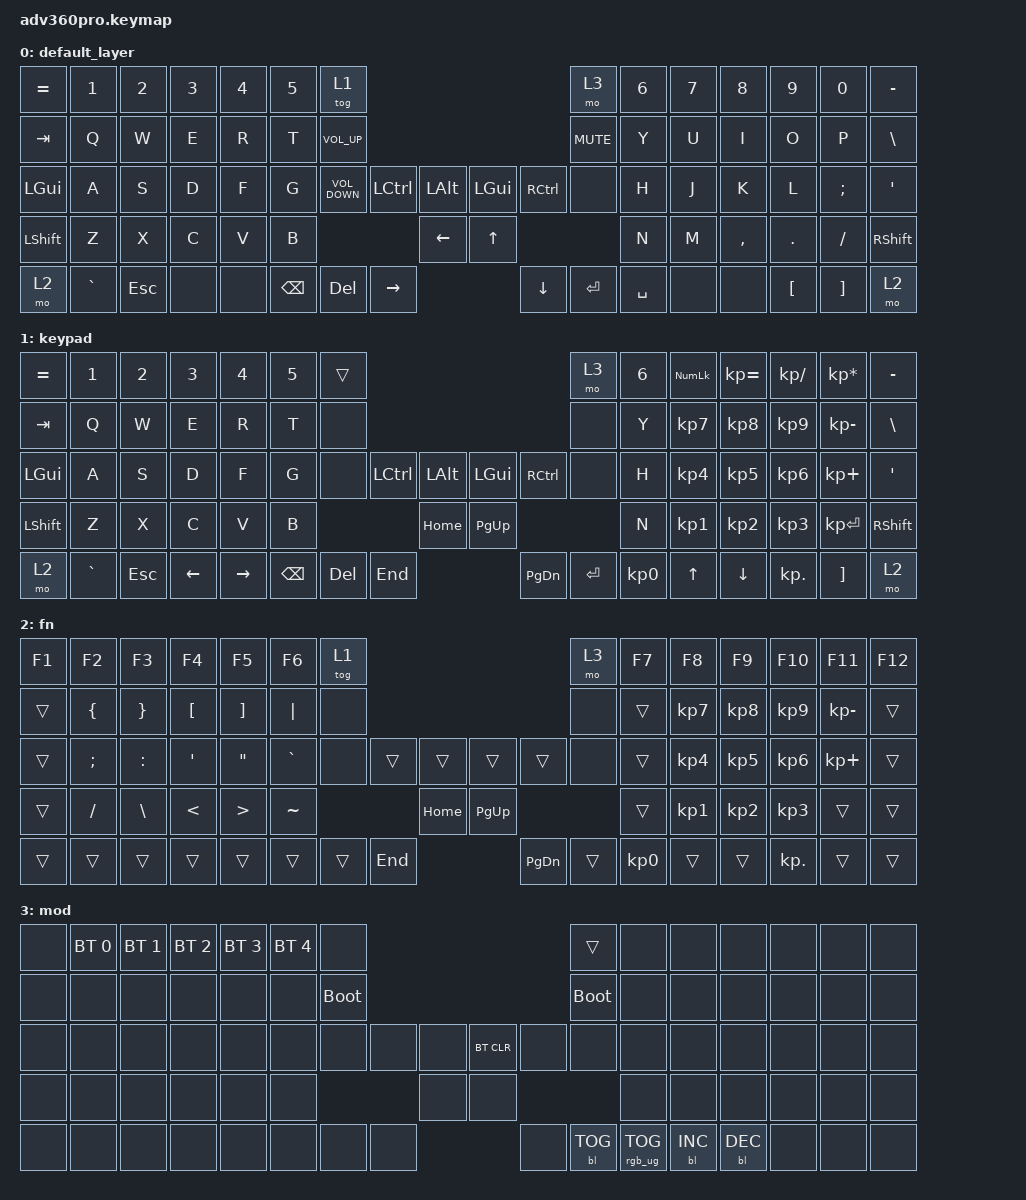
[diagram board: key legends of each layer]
#include <behaviors.dtsi>
#include <dt-bindings/zmk/keys.h>
#include <dt-bindings/zmk/bt.h>
#include <dt-bindings/zmk/rgb.h>
#include <dt-bindings/zmk/backlight.h>

/ {
    keymap {
        compatible = "zmk,keymap";

        default_layer {
            bindings = <
 &kp EQUAL     &kp N1   &kp N2  &kp N3  &kp N4  &kp N5                       &tog 1                                                                  &mo 3  &kp N6  &kp N7     &kp N8    &kp N9    &kp N0  &kp MINUS
   &kp TAB      &kp Q    &kp W   &kp E   &kp R   &kp T                 &kp C_VOL_UP                                                             &kp C_MUTE   &kp Y   &kp U      &kp I     &kp O     &kp P   &kp BSLH
  &kp LGUI      &kp A    &kp S   &kp D   &kp F   &kp G            &kp C_VOLUME_DOWN  &kp LCTRL   &kp LALT                  &kp LGUI  &kp RCTRL       &none   &kp H   &kp J      &kp K     &kp L  &kp SEMI    &kp SQT
 &kp LSHFT      &kp Z    &kp X   &kp C   &kp V   &kp B                                           &kp LEFT                    &kp UP                          &kp N   &kp M  &kp COMMA   &kp DOT  &kp FSLH  &kp RSHFT
     &mo 2  &kp GRAVE  &kp ESC   &none   &none                             &kp BSPC    &kp DEL  &kp RIGHT                  &kp DOWN  &kp ENTER   &kp SPACE           &none      &none  &kp LBKT  &kp RBKT      &mo 2
            >;
        };
        keypad {
            bindings = <
 &kp EQUAL     &kp N1      &kp N2    &kp N3     &kp N4  &kp N5              &trans                                                                 &mo 3  &kp N6  &kp KP_NUM  &kp KP_EQUAL  &kp KP_DIVIDE  &kp KP_MULTIPLY  &kp MINUS
   &kp TAB      &kp Q       &kp W     &kp E      &kp R   &kp T               &none                                                                 &none   &kp Y   &kp KP_N7     &kp KP_N8      &kp KP_N9     &kp KP_MINUS   &kp BSLH
  &kp LGUI      &kp A       &kp S     &kp D      &kp F   &kp G               &none  &kp LCTRL  &kp LALT                   &kp LGUI  &kp RCTRL      &none   &kp H   &kp KP_N4     &kp KP_N5      &kp KP_N6      &kp KP_PLUS    &kp SQT
 &kp LSHFT      &kp Z       &kp X     &kp C      &kp V   &kp B                                 &kp HOME                  &kp PG_UP                         &kp N   &kp KP_N1     &kp KP_N2      &kp KP_N3     &kp KP_ENTER  &kp RSHFT
     &mo 2  &kp GRAVE  &kp ESCAPE  &kp LEFT  &kp RIGHT                    &kp BSPC    &kp DEL   &kp END                  &kp PG_DN  &kp ENTER  &kp KP_N0              &kp UP      &kp DOWN     &kp KP_DOT         &kp RBKT      &mo 2
            >;
        };
        fn {
            bindings = <
 &kp F1          &kp F2           &kp F3            &kp F4             &kp F5     &kp F6            &tog 1                                                               &mo 3  &kp F7     &kp F8     &kp F9     &kp F10       &kp F11  &kp F12
 &trans  &kp LEFT_BRACE  &kp RIGHT_BRACE  &kp LEFT_BRACKET  &kp RIGHT_BRACKET   &kp PIPE             &none                                                               &none  &trans  &kp KP_N7  &kp KP_N8   &kp KP_N9  &kp KP_MINUS   &trans
 &trans   &kp SEMICOLON        &kp COLON  &kp SINGLE_QUOTE  &kp DOUBLE_QUOTES  &kp GRAVE             &none  &trans    &trans                         &trans  &trans      &none  &trans  &kp KP_N4  &kp KP_N5   &kp KP_N6   &kp KP_PLUS   &trans
 &trans       &kp SLASH    &kp BACKSLASH     &kp LESS_THAN   &kp GREATER_THAN  &kp TILDE                            &kp HOME                    &kp PAGE_UP                     &trans  &kp KP_N1  &kp KP_N2   &kp KP_N3        &trans   &trans
 &trans          &trans           &trans            &trans             &trans                       &trans  &trans   &kp END                  &kp PAGE_DOWN  &trans  &kp KP_N0             &trans     &trans  &kp KP_DOT        &trans   &trans
            >;
        };
        mod {
            bindings = <
                &none &bt BT_SEL 0 &bt BT_SEL 1 &bt BT_SEL 2 &bt BT_SEL 3 &bt BT_SEL 4 &none                                                               &trans      &none &none      &none      &none &none &none
                &none &none        &none        &none        &none        &none        &bootloader                                                         &bootloader &none &none      &none      &none &none &none
                &none &none        &none        &none        &none        &none        &none             &none &none &bt BT_CLR &none                      &none       &none &none      &none      &none &none &none
                &none &none        &none        &none        &none        &none                                &none &none                                             &none &none      &none      &none &none &none
                &none &none        &none        &none        &none                                 &none &none &none &none      &bl BL_TOG &rgb_ug RGB_TOG                   &bl BL_INC &bl BL_DEC &none &none &none
            >;
        };
    };
};
